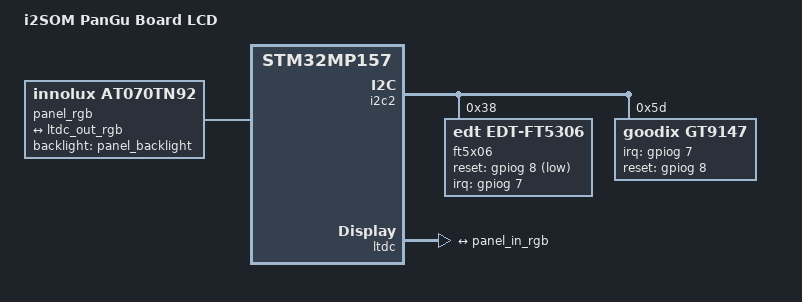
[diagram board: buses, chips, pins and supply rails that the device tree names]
// SPDX-License-Identifier: (GPL-2.0+ OR BSD-3-Clause)
/*
 * Copyright (C) i2SOM 2018 - All Rights Reserved
 * Author: Steve Chen <steve.chen@i2som.tech>.
 */

/dts-v1/;

#include "stm32mp157a-panguboard.dts"

/ {
	model = "i2SOM PanGu Board LCD";
	compatible = "i2som,pangu", "st,stm32mp157";

	panel_rgb: panel-rgb {
		compatible = "innolux,at070tn92";
		//compatible = "innolux,zj070na-01p";
		//compatible = "innolux,at043tn24";
		pinctrl-names = "default", "sleep";
		pinctrl-0 = <&ltdc_pins_b>;
		pinctrl-1 = <&ltdc_pins_sleep_b>;
		backlight = <&panel_backlight>;
		status = "okay";

		port {
			panel_in_rgb: endpoint {
				remote-endpoint = <&ltdc_out_rgb>;
			};
		};
	};

};

&i2c2 {
	ft5x06: ft5x06@38 {
		compatible = "edt,edt-ft5306";
		reg = <0x38>;
		interrupts = <7 IRQ_TYPE_EDGE_FALLING>;
		interrupt-parent = <&gpiog>;
		interrupt-controller;
		reset-gpios = <&gpiog 8 GPIO_ACTIVE_LOW>;
		status = "okay";
	};

	gt9147@5d {
		compatible = "goodix,gt9147";
		reg = <0x5d>;
		pinctrl-names = "default";
		pinctrl-0 = <&gt9147_irq>;
		irq-gpios = <&gpiog 7 GPIO_ACTIVE_HIGH>;
		reset-gpios = <&gpiog 8 GPIO_ACTIVE_HIGH>;
		status = "okay";
	};
};

&pinctrl {
	gt9147_irq:gt9147_irq {
		pins {
			pinmux = <STM32_PINMUX('G', 7, GPIO)>; /* PG7.GPIO */
			bias-pull-down;
			drive-push-pull;
		};
	};
};

&hdmi {
	status = "disabled";
};

&ltdc {
	status = "okay";

	port {
		#address-cells = <1>;
		#size-cells = <0>;

		ltdc_out_rgb: endpoint@1 {
			reg = <1>;
			remote-endpoint = <&panel_in_rgb>;
		};

	};
};
